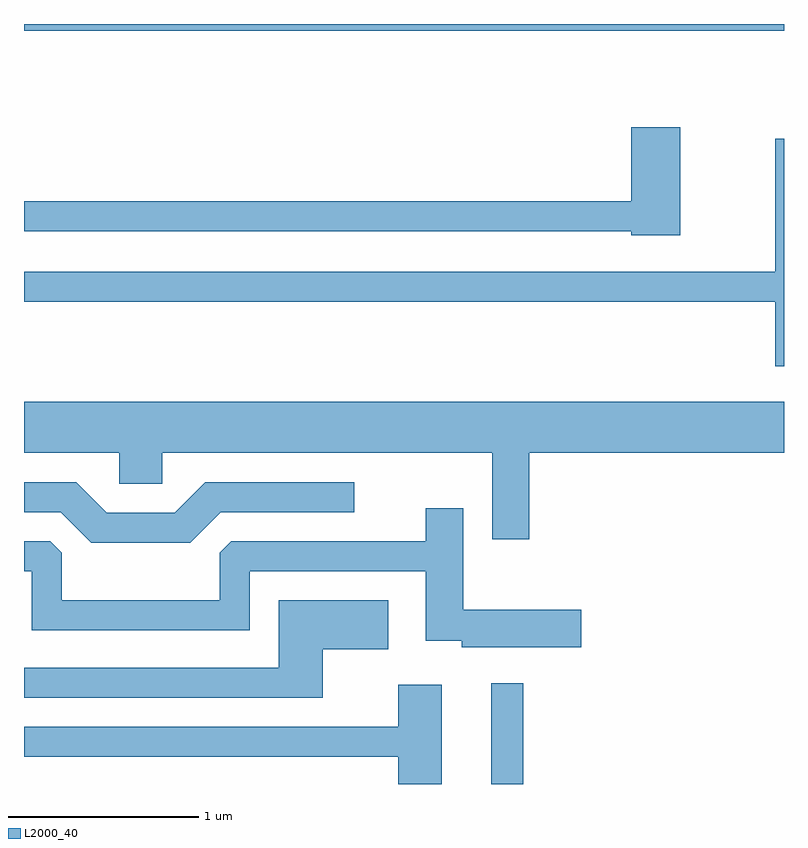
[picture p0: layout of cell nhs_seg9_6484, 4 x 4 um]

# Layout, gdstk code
import gdstk
lib = gdstk.Library(unit=1e-6, precision=1e-09)
def R(c, l, rs):  # rectangles x0, y0, x1, y1
    for r in rs: c.add(gdstk.rectangle(r[:2], r[2:], *l))
def P(c, l, *ps):  # polygons
    for p in ps: c.add(gdstk.Polygon(p, *l))
L2000_40 = (2000, 40)

nhs_seg9_6484 = lib.new_cell('nhs_seg9_6484')
R(nhs_seg9_6484, L2000_40, [(378.071,2074.432,378.239,2074.963), (375.611,2078.396,379.611,2078.432)])
P(nhs_seg9_6484, L2000_40, [(379.064,2077.889),(378.806,2077.889),(378.806,2077.499),(375.611,2077.499),(375.611,2077.341),(378.806,2077.341),(378.806,2077.321),(379.064,2077.321)],
  [(379.611,2077.829),(379.566,2077.829),(379.566,2077.129),(375.611,2077.129),(375.611,2076.971),(379.566,2076.971),(379.566,2076.631),(379.611,2076.631)],
  [(378.269,2076.176),(379.611,2076.176),(379.611,2076.444),(375.611,2076.444),(375.611,2076.176),(376.111,2076.176),(376.111,2076.011),(376.339,2076.011),(376.339,2076.176),(378.076,2076.176),(378.076,2075.721),(378.269,2075.721)],
  [(376.647,2075.861),(377.348,2075.861),(377.348,2076.019),(376.564,2076.019),(376.404,2075.859),(376.047,2075.859),(375.887,2076.019),(375.611,2076.019),(375.611,2075.861),(375.804,2075.861),(375.964,2075.701),(376.487,2075.701)],
  [(378.544,2075.349),(377.924,2075.349),(377.924,2075.884),(377.726,2075.884),(377.726,2075.709),(376.702,2075.709),(376.641,2075.649),(376.641,2075.399),(375.809,2075.399),(375.809,2075.649),(375.749,2075.709),(375.611,2075.709),(375.611,2075.551),(375.651,2075.551),(375.651,2075.241),(376.799,2075.241),(376.799,2075.551),(377.726,2075.551),(377.726,2075.186),(377.916,2075.186),(377.916,2075.151),(378.544,2075.151)],
  [(377.184,2075.141),(377.529,2075.141),(377.529,2075.399),(376.951,2075.399),(376.951,2075.044),(375.611,2075.044),(375.611,2074.886),(377.184,2074.886)],
  [(377.809,2074.954),(377.581,2074.954),(377.581,2074.734),(375.611,2074.734),(375.611,2074.576),(377.581,2074.576),(377.581,2074.432),(377.809,2074.432)])

lib.write_gds('nhs_seg9_6484.gds')
